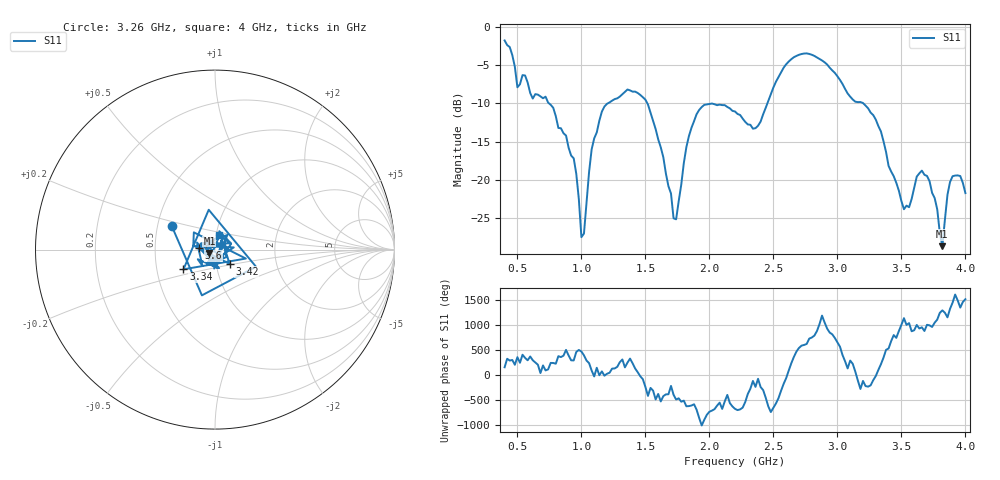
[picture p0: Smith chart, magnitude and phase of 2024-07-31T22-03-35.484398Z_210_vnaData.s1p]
!Created with skrf (http://scikit-rf.org).
# Hz S RI R 50.0
!freq ReS11 ImS11
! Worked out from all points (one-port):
!   181 points, 400 MHz to 4 GHz, reference 50 ohm
!   lowest |S11| = -28.7 dB at 3.82 GHz (marker M1), VSWR 1.08, Z = 47 - j1.83 ohm
!   |S11| at or under -10 dB: 747.4 MHz to 1.205 GHz (457.6 MHz wide, 46.9 % of centre); 1.516 GHz to 2.453 GHz (937.1 MHz wide, 47.2 % of centre); 3.203 GHz to end of sweep
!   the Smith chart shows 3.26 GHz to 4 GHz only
!   S11 on the Smith chart (normalised r, x): 3.26 GHz: 0.59, +0.17; 3.34 GHz: 0.69, -0.16; 3.42 GHz: 1.16, -0.19; 3.6 GHz: 0.84, +0.02; 4 GHz: 1.03, +0.16
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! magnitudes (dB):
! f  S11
! 400 MHz  -1.7
! 500 MHz  -7.9
! 560 MHz  -6.3
! 860 MHz  -13.9
! 940 MHz  -17.2
! 1 GHz  -27.5
! 1.1 GHz  -14.6
! 1.3 GHz  -9.1
! 1.5 GHz  -9.5
! 1.64 GHz  -17.1
! 1.72 GHz  -25.1
! 1.76 GHz  -22.8
! 1.82 GHz  -15.7
! 1.92 GHz  -10.9
! 2.2 GHz  -11.1
! 2.36 GHz  -13.2
! 2.66 GHz  -3.9
! 2.88 GHz  -4.4
! 3.1 GHz  -9.1
! 3.26 GHz  -11.2
! 3.34 GHz  -13.7
! 3.42 GHz  -18.9
! 3.56 GHz  -23.6
! 3.6 GHz  -21.1
! 3.7 GHz  -19.5
! 3.82 GHz  -28.7
! 3.88 GHz  -20.3
! 4 GHz  -21.8
